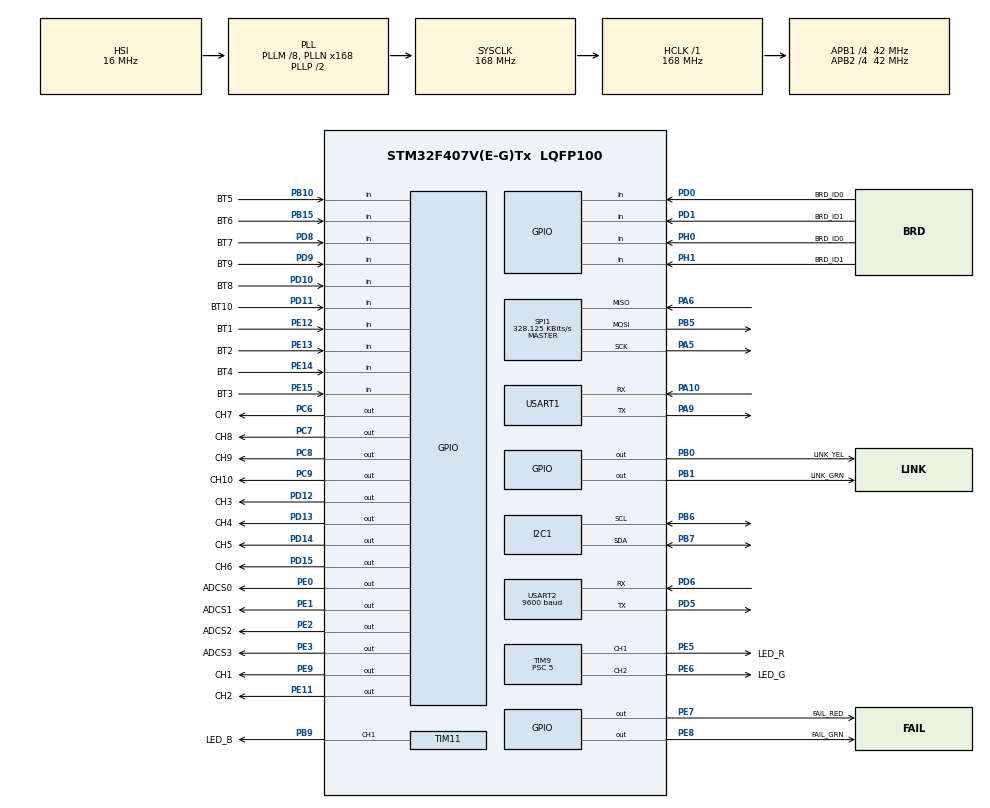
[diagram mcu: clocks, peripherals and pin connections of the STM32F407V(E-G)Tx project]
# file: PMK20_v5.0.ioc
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Dma.I2C1_RX.3.Direction=DMA_PERIPH_TO_MEMORY
Dma.I2C1_RX.3.FIFOMode=DMA_FIFOMODE_DISABLE
Dma.I2C1_RX.3.Instance=DMA1_Stream0
Dma.I2C1_RX.3.MemDataAlignment=DMA_MDATAALIGN_BYTE
Dma.I2C1_RX.3.MemInc=DMA_MINC_ENABLE
Dma.I2C1_RX.3.Mode=DMA_NORMAL
Dma.I2C1_RX.3.PeriphDataAlignment=DMA_PDATAALIGN_BYTE
Dma.I2C1_RX.3.PeriphInc=DMA_PINC_DISABLE
Dma.I2C1_RX.3.Priority=DMA_PRIORITY_HIGH
Dma.I2C1_TX.2.Direction=DMA_MEMORY_TO_PERIPH
Dma.I2C1_TX.2.FIFOMode=DMA_FIFOMODE_DISABLE
Dma.I2C1_TX.2.Instance=DMA1_Stream7
Dma.I2C1_TX.2.MemDataAlignment=DMA_MDATAALIGN_BYTE
Dma.I2C1_TX.2.MemInc=DMA_MINC_ENABLE
Dma.I2C1_TX.2.Mode=DMA_NORMAL
Dma.I2C1_TX.2.PeriphDataAlignment=DMA_PDATAALIGN_BYTE
Dma.I2C1_TX.2.PeriphInc=DMA_PINC_DISABLE
Dma.I2C1_TX.2.Priority=DMA_PRIORITY_HIGH
Dma.Request0=USART2_RX
Dma.Request1=USART2_TX
Dma.Request2=I2C1_TX
Dma.Request3=I2C1_RX
Dma.USART2_RX.0.Direction=DMA_PERIPH_TO_MEMORY
Dma.USART2_RX.0.FIFOMode=DMA_FIFOMODE_DISABLE
Dma.USART2_RX.0.Instance=DMA1_Stream5
Dma.USART2_RX.0.MemDataAlignment=DMA_MDATAALIGN_BYTE
Dma.USART2_RX.0.MemInc=DMA_MINC_ENABLE
Dma.USART2_RX.0.Mode=DMA_NORMAL
Dma.USART2_RX.0.PeriphDataAlignment=DMA_PDATAALIGN_BYTE
Dma.USART2_RX.0.PeriphInc=DMA_PINC_DISABLE
Dma.USART2_RX.0.Priority=DMA_PRIORITY_LOW
Dma.USART2_TX.1.Direction=DMA_MEMORY_TO_PERIPH
Dma.USART2_TX.1.FIFOMode=DMA_FIFOMODE_DISABLE
Dma.USART2_TX.1.Instance=DMA1_Stream6
Dma.USART2_TX.1.MemDataAlignment=DMA_MDATAALIGN_BYTE
Dma.USART2_TX.1.MemInc=DMA_MINC_ENABLE
Dma.USART2_TX.1.Mode=DMA_NORMAL
Dma.USART2_TX.1.PeriphDataAlignment=DMA_PDATAALIGN_BYTE
Dma.USART2_TX.1.PeriphInc=DMA_PINC_DISABLE
Dma.USART2_TX.1.Priority=DMA_PRIORITY_LOW
I2C1.GeneralCallMode=I2C_GENERALCALL_DISABLE
I2C1.NoStretchMode=I2C_NOSTRETCH_DISABLE
I2C1.OwnAddress=0x01
IWDG.Prescaler=IWDG_PRESCALER_128
IWDG.Reload=0xfff
Mcu.Family=STM32F4
Mcu.Name=STM32F407V(E-G)Tx
Mcu.Package=LQFP100
NVIC.DMA1_Stream0_IRQn=true\:0\:0\:false\:false\:true\:false\:true\:true
NVIC.DMA1_Stream5_IRQn=true\:0\:0\:false\:false\:true\:false\:true\:true
NVIC.DMA1_Stream6_IRQn=true\:0\:0\:false\:false\:true\:false\:true\:true
NVIC.DMA1_Stream7_IRQn=true\:0\:0\:false\:false\:true\:false\:true\:true
NVIC.I2C1_ER_IRQn=true\:0\:0\:false\:false\:true\:true\:true\:true
NVIC.I2C1_EV_IRQn=true\:0\:0\:false\:false\:true\:true\:true\:true
NVIC.PriorityGroup=NVIC_PRIORITYGROUP_4
NVIC.TIM1_CC_IRQn=true\:2\:0\:true\:false\:true\:true\:true\:true
NVIC.TIM1_UP_TIM10_IRQn=true\:2\:0\:true\:false\:true\:true\:true\:true
NVIC.TIM6_DAC_IRQn=true\:0\:0\:false\:false\:true\:true\:true\:true
NVIC.TIM7_IRQn=true\:0\:0\:false\:false\:true\:true\:true\:true
NVIC.TIM8_TRG_COM_TIM14_IRQn=true\:2\:0\:true\:false\:true\:true\:true\:true
NVIC.USART2_IRQn=true\:0\:0\:false\:false\:true\:true\:true\:true
PA10.GPIO_PuPd=GPIO_PULLUP
PA10.GPIO_Speed=GPIO_SPEED_FREQ_HIGH
PA10.Mode=Asynchronous
PA10.Signal=USART1_RX
PA13.Mode=Trace_Asynchronous_SW
PA13.Signal=SYS_JTMS-SWDIO
PA14.Mode=Trace_Asynchronous_SW
PA14.Signal=SYS_JTCK-SWCLK
PA5.Mode=Full_Duplex_Master
PA5.Signal=SPI1_SCK
PA6.Mode=Full_Duplex_Master
PA6.Signal=SPI1_MISO
PA9.GPIO_PuPd=GPIO_PULLUP
PA9.GPIO_Speed=GPIO_SPEED_FREQ_HIGH
PA9.Mode=Asynchronous
PA9.Signal=USART1_TX
PB0.GPIO_Label=LINK_YEL
PB0.GPIO_Speed=GPIO_SPEED_FREQ_VERY_HIGH
PB0.Signal=GPIO_Output
PB1.GPIO_Label=LINK_GRN
PB1.GPIO_Speed=GPIO_SPEED_FREQ_VERY_HIGH
PB1.Signal=GPIO_Output
PB10.GPIO_Label=BT5
PB10.Signal=GPIO_Input
PB15.GPIO_Label=BT6
PB15.Signal=GPIO_Input
PB3.Mode=Trace_Asynchronous_SW
PB3.Signal=SYS_JTDO-SWO
PB5.Mode=Full_Duplex_Master
PB5.Signal=SPI1_MOSI
PB6.GPIO_Pu=GPIO_NOPULL
PB6.Mode=I2C
PB6.Signal=I2C1_SCL
PB7.GPIO_Pu=GPIO_NOPULL
PB7.Mode=I2C
PB7.Signal=I2C1_SDA
PB9.GPIO_Label=LED_B
PB9.GPIO_ModeDefaultPP=GPIO_MODE_AF_OD
PB9.GPIO_Speed=GPIO_SPEED_FREQ_MEDIUM
PB9.Signal=S_TIM11_CH1
PC6.GPIO_Label=CH7
PC6.Signal=GPIO_Output
PC7.GPIO_Label=CH8
PC7.Signal=GPIO_Output
PC8.GPIO_Label=CH9
PC8.Signal=GPIO_Output
PC9.GPIO_Label=CH10
PC9.Signal=GPIO_Output
PD0.GPIO_Label=BRD_ID0
PD0.GPIO_PuPd=GPIO_NOPULL
PD0.Signal=GPIO_Input
PD1.GPIO_Label=BRD_ID1
PD1.GPIO_PuPd=GPIO_NOPULL
PD1.Signal=GPIO_Input
PD10.GPIO_Label=BT8
PD10.Signal=GPIO_Input
PD11.GPIO_Label=BT10
PD11.Signal=GPIO_Input
PD12.GPIO_Label=CH3
PD12.Signal=GPIO_Output
PD13.GPIO_Label=CH4
PD13.Signal=GPIO_Output
PD14.GPIO_Label=CH5
PD14.Signal=GPIO_Output
PD15.GPIO_Label=CH6
PD15.Signal=GPIO_Output
PD5.GPIO_PuPd=GPIO_PULLDOWN
PD5.Mode=Asynchronous
PD5.Signal=USART2_TX
PD6.GPIO_PuPd=GPIO_PULLDOWN
PD6.Mode=Asynchronous
PD6.Signal=USART2_RX
PD8.GPIO_Label=BT7
PD8.Signal=GPIO_Input
PD9.GPIO_Label=BT9
PD9.Signal=GPIO_Input
PE0.GPIO_Label=ADCS0
PE0.GPIO_PuPd=GPIO_PULLUP
PE0.Signal=GPIO_Output
PE1.GPIO_Label=ADCS1
PE1.GPIO_PuPd=GPIO_PULLUP
PE1.Signal=GPIO_Output
PE11.GPIO_Label=CH2
PE11.Signal=GPIO_Output
PE12.GPIO_Label=BT1
PE12.GPIO_PuPd=GPIO_PULLDOWN
PE12.Signal=GPIO_Input
PE13.GPIO_Label=BT2
PE13.GPIO_PuPd=GPIO_PULLDOWN
PE13.Signal=GPIO_Input
PE14.GPIO_Label=BT4
PE14.GPIO_PuPd=GPIO_PULLDOWN
PE14.Signal=GPIO_Input
PE15.GPIO_Label=BT3
PE15.GPIO_PuPd=GPIO_PULLDOWN
PE15.Signal=GPIO_Input
PE2.GPIO_Label=ADCS2
PE2.GPIO_PuPd=GPIO_PULLUP
PE2.Signal=GPIO_Output
PE3.GPIO_Label=ADCS3
PE3.GPIO_PuPd=GPIO_PULLUP
PE3.Signal=GPIO_Output
PE5.GPIO_Label=LED_R
PE5.GPIO_ModeDefaultPP=GPIO_MODE_AF_OD
PE5.GPIO_Speed=GPIO_SPEED_FREQ_MEDIUM
PE5.Signal=S_TIM9_CH1
PE6.GPIO_Label=LED_G
PE6.GPIO_ModeDefaultPP=GPIO_MODE_AF_OD
PE6.GPIO_Speed=GPIO_SPEED_FREQ_MEDIUM
PE6.Signal=S_TIM9_CH2
PE7.GPIO_Label=FAIL_RED
PE7.GPIO_PuPd=GPIO_PULLDOWN
PE7.GPIO_Speed=GPIO_SPEED_FREQ_LOW
PE7.Signal=GPIO_Output
PE8.GPIO_Label=FAIL_GRN
PE8.GPIO_PuPd=GPIO_PULLDOWN
PE8.GPIO_Speed=GPIO_SPEED_FREQ_LOW
PE8.Signal=GPIO_Output
PE9.GPIO_Label=CH1
PE9.Signal=GPIO_Output
PH0-OSC_IN.GPIO_Label=BRD_ID0
PH0-OSC_IN.Signal=GPIO_Input
PH1-OSC_OUT.GPIO_Label=BRD_ID1
PH1-OSC_OUT.Signal=GPIO_Input
ProjectManager.HeapSize=0x200
ProjectManager.StackSize=0x400
ProjectManager.TargetToolchain=MDK-ARM V5.32
RCC.48MHZClocksFreq_Value=84000000
RCC.AHBFreq_Value=168000000
RCC.APB1CLKDivider=RCC_HCLK_DIV4
RCC.APB1Freq_Value=42000000
RCC.APB1TimFreq_Value=84000000
RCC.APB2CLKDivider=RCC_HCLK_DIV4
RCC.APB2Freq_Value=42000000
RCC.APB2TimFreq_Value=84000000
RCC.CortexFreq_Value=168000000
RCC.HCLKFreq_Value=168000000
RCC.HSE_VALUE=25000000
RCC.HSI_VALUE=16000000
RCC.LSE_VALUE=32768
RCC.PLLM=8
RCC.PLLN=168
RCC.SYSCLKFreq_VALUE=168000000
RCC.SYSCLKSource=RCC_SYSCLKSOURCE_PLLCLK
RCC.VCOOutputFreq_Value=336000000
SH.S_TIM11_CH1.0=TIM11_CH1,PWM Generation1 CH1
SH.S_TIM9_CH1.0=TIM9_CH1,PWM Generation1 CH1
SH.S_TIM9_CH2.0=TIM9_CH2,PWM Generation2 CH2
SPI1.BaudRatePrescaler=SPI_BAUDRATEPRESCALER_128
SPI1.CalculateBaudRate=328.125 KBits/s
SPI1.Direction=SPI_DIRECTION_2LINES
SPI1.Mode=SPI_MODE_MASTER
SPI1.VirtualType=VM_MASTER
TIM1.Channel-Output\ Compare1\ No\ Output=TIM_CHANNEL_1
TIM1.Period=12799
TIM1.Prescaler=5
TIM10.Period=2625
TIM10.Prescaler=15
TIM11.Channel=TIM_CHANNEL_1
TIM11.OCPolarity_1=TIM_OCPOLARITY_LOW
TIM11.Period=255
TIM11.Prescaler=5
TIM14.Period=52500
TIM14.Prescaler=150
TIM6.Period=5250
TIM6.Prescaler=15
TIM7.Period=80
TIM7.Prescaler=1600
TIM9.Channel-PWM\ Generation1\ CH1=TIM_CHANNEL_1
TIM9.Channel-PWM\ Generation2\ CH2=TIM_CHANNEL_2
TIM9.OCPolarity_1=TIM_OCPOLARITY_LOW
TIM9.OCPolarity_2=TIM_OCPOLARITY_LOW
TIM9.Period=255
TIM9.Prescaler=5
USART1.VirtualMode=VM_ASYNC
USART2.BaudRate=9600
USART2.VirtualMode=VM_ASYNC
VP_CRC_VS_CRC.Mode=CRC_Activate
VP_IWDG_VS_IWDG.Mode=IWDG_Activate
VP_TIM10_VS_ClockSourceINT.Mode=Enable_Timer
VP_TIM11_VS_ClockSourceINT.Mode=Enable_Timer
VP_TIM14_VS_ClockSourceINT.Mode=Enable_Timer
VP_TIM1_VS_no_output1.Mode=Output Compare1 No Output
VP_TIM6_VS_ClockSourceINT.Mode=Enable_Timer
VP_TIM7_VS_ClockSourceINT.Mode=Enable_Timer
board=custom

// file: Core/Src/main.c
/* USER CODE BEGIN Header */
/**
  ******************************************************************************
  * @file           : main.c
  * @brief          : Main program body
  ******************************************************************************
  * @attention
  *
  * Copyright (c) 2023 STMicroelectronics.
  * All rights reserved.
  *
  * This software is licensed under terms that can be found in the LICENSE file
  * in the root directory of this software component.
  * If no LICENSE file comes with this software, it is provided AS-IS.
  *
  ******************************************************************************
  */
/* USER CODE END Header */
#include "main.h"

/* USER CODE BEGIN Includes */
#include "MY_FLASH.h"
#include "MD_5.h"
#include "string.h"
/* USER CODE END Includes */

/* USER CODE BEGIN PTD */
 uint16_t current = 0; // счетчик
 uint8_t rer[100];
 uint8_t arr[168];
 uint8_t mbInput[16]; // Массив входных данных modbus
 uint8_t lenMBrx;
 uint8_t mbAddr;
 uint8_t i2cAddr;
 uint16_t crcTx;
 _Bool arrBool[0x400];
	_Bool arrBoolTemp[100];
	uint16_t arrWord[0x400];
	uint16_t arrWord_minus[0x400];
	uint16_t arrWordBipol[0x400];
	_Bool arrBoolBipol[0x400];
 _Bool uartTx;
  _Bool sem; // сигнал о том что посылка modbud принята без ошибок.
  _Bool blockMode; // блокировка записи по modbus в режиме местного упрвления
  _Bool semF; //  посылка по модбасу принята
	uint8_t timePush_Test;
	uint8_t timePush_Test_N;
	_Bool set_set[10]; // запись уставок по первому сигналу
	uint16_t setPoint[100];
	//MODE
//	uint8_t mode;// test
uint8_t PMU_Mode;
int16_t blink; // для выбора режима упрвления мигание
 _chlMode cTime[10]; // переменная для определения времени нажатия кнопок каждого канала
  uint8_t chMode[10]; // режим мониторинга кабеля
	uint8_t chModeTemp[10];// заглушка
	// CPU ID
	long itr00;
	volatile uint32_t *UniqueID = (uint32_t *)0x1FFF7A10;
	volatile uint32_t __UniqueID[3];
	volatile extern uint8_t test_Status;
	uint16_t errorCounter;
	_Bool ttr = 0; // Блокировка при записи в Флеш память
		HAL_StatusTypeDef RTF; // test i2c
		HAL_StatusTypeDef WTF; // test i2c
		_Bool slaveWrData;
		_Bool slaveRdData;
		 int iik;
		uint8_t arrI2c_R[12];

		_Bool i2c_rd = 0;
		_Bool i2c_td = 0;
		uint32_t lanTimer = 0;
		uint8_t hvAllarm = 0;

		uint8_t lanCurr;// чтетчик для индикации работы сети
		_Bool lanLed; // индикатор работы сети ?
		uint16_t lanTemer;
		uint32_t rlanTest;
		_Bool blanTest;

		_Bool stMbAdd[2];

		uint8_t EON_off =1; // когда напряжение смещени 100 В должно быть снято
		_Bool pauseEon;
		_Bool pauseEonM;
		int i_Eon = 0;
		uint8_t modeEon =0;
		uint16_t delayEon = 900;
		uint8_t readyEon;
//		uint8_t modeEon;
		uint8_t timeModeEon = 0;
		_Bool startLokal = 0;
		uint8_t statusMb;
//	uint16_t currentTime; // переменная для выдержки 30 сек не нажата ни одна кнопка
GPIO switch_gpio[10] = {
	{ BT1_GPIO_Port, BT1_Pin },
	{ BT2_GPIO_Port, BT2_Pin },
	{ BT3_GPIO_Port, BT3_Pin },
	{ BT4_GPIO_Port, BT4_Pin },
	{ BT5_GPIO_Port, BT5_Pin },
	{ BT6_GPIO_Port, BT6_Pin },
	{ BT7_GPIO_Port, BT7_Pin },
	{ BT8_GPIO_Port, BT8_Pin },
	{ BT9_GPIO_Port, BT9_Pin },
	{ BT10_GPIO_Port, BT10_Pin }
};

	//plus
uint8_t adc_current =0;
	uint32_t adc_delay = 150;//120;//500; //
	uint32_t  led_rgb[10] = {0, 0, 0, 0, 0, 0, 0, 0, 0, 0};
	float RZ[4];
	int CC; // TEST
	int currentPB =0; //  селекция нажатия кнопки push_Button
	// Flash
		uint8_t data[64];    // test
    uint16_t res[400];		// test
	// monitor CH
	uint8_t ch_monitor[10] = {0, 0, 0, 0, 0, 0, 0, 0, 0, 0};
	int ideley=0;
	int kdeley=0;
	uint8_t tempCh[10];
	_Bool startSett; //  считывание при старте
	//For Skada

	char mBuffer[65535];

	// Ошибка платы
	_Bool pmkError;
	uint16_t adc_Status; // Состояние АЦП

	//gpio
	// md5
	uint32_t CCRC;
	char md5sum;
	char ccrrc;

	uint8_t arrI2c_T[12];

	uint32_t SetEEprom;
	_Bool LoadNumDev;

/* USER CODE END PTD */

CRC_HandleTypeDef hcrc;

I2C_HandleTypeDef hi2c1;
DMA_HandleTypeDef hdma_i2c1_tx;
DMA_HandleTypeDef hdma_i2c1_rx;

IWDG_HandleTypeDef hiwdg;

SPI_HandleTypeDef hspi1;

TIM_HandleTypeDef htim1;
TIM_HandleTypeDef htim6;
TIM_HandleTypeDef htim7;
TIM_HandleTypeDef htim9;
TIM_HandleTypeDef htim10;
TIM_HandleTypeDef htim11;
TIM_HandleTypeDef htim14;

UART_HandleTypeDef huart1;
UART_HandleTypeDef huart2;
DMA_HandleTypeDef hdma_usart2_rx;
DMA_HandleTypeDef hdma_usart2_tx;

void SystemClock_Config(void);
static void MX_GPIO_Init(void);
static void MX_DMA_Init(void);
static void MX_USART2_UART_Init(void);
static void MX_TIM7_Init(void);
static void MX_SPI1_Init(void);
static void MX_TIM9_Init(void);
static void MX_TIM11_Init(void);
static void MX_USART1_UART_Init(void);
static void MX_TIM6_Init(void);
static void MX_TIM1_Init(void);
static void MX_TIM10_Init(void);
static void MX_TIM14_Init(void);
static void MX_CRC_Init(void);
static void MX_I2C1_Init(void);
static void MX_IWDG_Init(void);
/* USER CODE BEGIN PFP */

void HAL_I2C_SlaveTxCpltCallback(I2C_HandleTypeDef *hi2c)
{

		slaveWrData = 0;
							RTF = HAL_I2C_Slave_Receive_DMA(&hi2c1, arrI2c_R,12);
							for (int i=0; i<100; i++){}
							arrWord[110] = arrI2c_R[1]<<8	| arrI2c_R[2];
							arrWord[111] = arrI2c_R[3]<<8	| arrI2c_R[4];

							if(arrI2c_R[5] == 0xF0){arrWord[114]=0x01FF;}
							else if (arrI2c_R[5] == 0x0F){arrWord[114]=0x05;}
//							arrWord[114] = arrI2c_R[5]; //<<8	| arrI2c_R[6];
}
void HAL_I2C_SlaveRxCpltCallback(I2C_HandleTypeDef *hi2c)
{

		slaveRdData = 0;

}

void HAL_UART_RxCpltCallback(UART_HandleTypeDef *huart)
{

    if ((huart == &huart2)&(!semF))
    {

		// обработка модбас
     HAL_UART_Receive_DMA(&huart2,(uint8_t*) &rer,1);
    }
  /* Prevent unused argument(s) compilation warning */
  UNUSED(huart);
  /* NOTE: This function should not be modified, when the callback is needed,
           the HAL_UART_RxCpltCallback could be implemented in the user file
   */
};
void HAL_UART_ErrorCallback(UART_HandleTypeDef *huart)
{
//	if(huart->ErrorCode == HAL_UART_ERROR_ORE)
//	{
//		if (huart->ErrorCode == HAL_UART_ERROR_NONE)
//		{
//			arrWord[200]=0;
//		}
//		else if (huart->ErrorCode == HAL_UART_ERROR_PE)
//		{
//			arrWord[200]=1;
//		}
//		else if (huart->ErrorCode == HAL_UART_ERROR_NE)
//		{
//			arrWord[200]=2;
//		}
//		else if (huart->ErrorCode == HAL_UART_ERROR_FE)
//		{
//			arrWord[200]=3;
//		}
//		else if (huart->ErrorCode == HAL_UART_ERROR_ORE)
//		{
//			arrWord[200]=4;
//		}
//		else if (huart->ErrorCode == HAL_UART_ERROR_DMA)
//		{
//			arrWord[200]=5;
//		}

		HAL_UART_Receive_DMA(&huart2,(uint8_t*) &rer,1); // Перезапуск при ошибке
}
/* USER CODE END PFP */

int main(void)

{
  /* USER CODE BEGIN 1 */
//	//ID CPU
//	__UniqueID[0] = UniqueID[0];
//	__UniqueID[1] = UniqueID[1];
//	__UniqueID[2] = UniqueID[2];

//	arrWord[100] = __UniqueID[0];
//	arrWord[101] = __UniqueID[0]>>16;
//	arrWord[102] = __UniqueID[1];
//	arrWord[103] = __UniqueID[1]>>16;
//	arrWord[104] = __UniqueID[2];
//	arrWord[105] = __UniqueID[2]>>16;
//
//	// Версия программы
//	arrWord[90] = _version>>16;
//	arrWord[91] = (uint16_t)_version;
////	arrWord[92] = 20;
////	arrWord[93] = 01;
//// md5
//
//		uint8_t result[16] = {0,0,0,0,0,0,0,0,0,0,0,0,0,0,0,0};
//

		uint8_t tbyte;
		uint64_t flas_length = 0;
		_Bool flas_count = 0;
		uint8_t ff_count =0;

//		while (!flas_count)
//		{
//			tbyte =	*(uint8_t*)(0x8000000+flas_length);
//			if (tbyte == 0xFF)
//			{
//
//				if(ff_count >= 15)
//				{
//				flas_count = 1;
//				}
//				ff_count++;
//			}
//			else
//			{
//				ff_count = 0;
//			}
//
//			flas_length++;
//		}
//		flas_length = flas_length - 16; // адрес первого FF

//		tbyte =	*(uint8_t*)0x8000000; // прочитать байты;
	char buffer2[9];
	char md5Vstart;		//[flas_length>>1];
	uint32_t md5Vfinish;    //[flas_length>>1];

//    mbAddr=0x01;
    startSett = 0;
	  MY_FLASH_SetSectorAddrs(11, 0x080E0000);
//    uint8_t data[2048-8];
//    data[0]=0xA5;//serial_number[0];//0x10;
//    data[1]=0xA6;//serial_number[1];//0x34;

/****** Работа с FLASH *****/
	//предустановки

	//Проверяем flash

	 MY_FLASH_ReadN(0,res,400,DATA_TYPE_16);

	if (res[0] != 0xffff)
	{
		MY_FLASH_ReadN (0, arrWord, 400, DATA_TYPE_16);
	}
//    MY_FLASH_WriteN(0,arrWord,40,DATA_TYPE_16); // Запись
//    MY_FLASH_ReadN(0,res,8,DATA_TYPE_8);
	arrBool[20]=1; arrBool[21]=1; arrBool[22]=1;arrBool[23]=1;arrBool[24]=1; arrBool[25]=1; arrBool[26]=1; arrBool[27]=1; arrBool[28]=1; arrBool[29]=1;
  arrBool[30]=1; arrBool[31]=1; arrBool[32]=1;arrBool[33]=1;arrBool[34]=1; arrBool[35]=1; arrBool[36]=1; arrBool[37]=1; arrBool[38]=1; arrBool[39]=1;
	arrBool[40]=1; arrBool[41]=1; arrBool[42]=1;arrBool[43]=1;arrBool[44]=1; arrBool[45]=1; arrBool[46]=1; arrBool[47]=1; arrBool[48]=1; arrBool[49]=1;
	arrBool[50]=1; arrBool[51]=1; arrBool[52]=1;arrBool[53]=1;arrBool[54]=1; arrBool[55]=1; arrBool[56]=1; arrBool[57]=1; arrBool[58]=1; arrBool[59]=1;
	arrBool[110]=1; arrBool[111]=1; arrBool[112]=1;arrBool[113]=1;arrBool[114]=1; arrBool[115]=1; arrBool[116]=1; arrBool[117]=1; arrBool[118]=1; arrBool[119]=1;
	for(int i = 0; i<10 ; i++)
	{
			if ((arrWord[i+200]==0) | (arrWord[i+200] == 0xFFFF))
			{arrWord[i+200]=_setVolt;}
			if(arrWord[i] == 0)
			{
				arrWord[i]=0x1414;
			}
	}
	arrWord[140]=0;
	arrWord[380]=10;
	arrWord[221] = 0xFC00; // Напряжение -100 В
	arrWord[222] = 0xFC00; // напряжение +100 В
	//ID CPU
	__UniqueID[0] = UniqueID[0];
	__UniqueID[1] = UniqueID[1];
	__UniqueID[2] = UniqueID[2];

	arrWord[100] = __UniqueID[0];
	arrWord[101] = __UniqueID[0]>>16;
	arrWord[102] = __UniqueID[1];
	arrWord[103] = __UniqueID[1]>>16;
	arrWord[104] = __UniqueID[2];
	arrWord[105] = __UniqueID[2]>>16;

	// Версия программы
	arrWord[90] = _version>>16;
	arrWord[91] = (uint16_t)_version;
//	arrWord[92] = 20;
//	arrWord[93] = 01;
// md5

		uint8_t result[16] = {0,0,0,0,0,0,0,0,0,0,0,0,0,0,0,0};

  /* USER CODE END 1 */

  /* MCU Configuration--------------------------------------------------------*/

  /* Reset of all peripherals, Initializes the Flash interface and the Systick. */
  HAL_Init();

  /* Configure the system clock */
  SystemClock_Config();

  /* Initialize all configured peripherals */
  MX_GPIO_Init();
  MX_DMA_Init();
  MX_USART2_UART_Init();
  MX_TIM7_Init();
  MX_SPI1_Init();
  MX_TIM9_Init();
  MX_TIM11_Init();
  MX_USART1_UART_Init();
  MX_TIM6_Init();
  MX_TIM1_Init();
  MX_TIM10_Init();
  MX_TIM14_Init();
  MX_CRC_Init();
  MX_I2C1_Init();
  MX_IWDG_Init();
  /* USER CODE BEGIN 2 */
    HAL_UART_Receive_DMA(&huart2,(uint8_t*) &rer,1);

//		HAL_I2C_Slave_Transmit_DMA(&hi2c1,arrI2c, 2);
    HAL_TIM_Base_Start_IT(&htim7);
		HAL_TIM_Base_Start_IT(&htim14);
//		CCRC = pro_CRC();
			stMbAdd[0]=HAL_GPIO_ReadPin(GPIOD, GPIO_PIN_0)!=0;
			stMbAdd[1]=HAL_GPIO_ReadPin(GPIOD, GPIO_PIN_1)!=0;
			i2cAddr = stMbAdd[0]+stMbAdd[1]+1; //230807
//			hi2c1.Init.OwnAddress1 = i2cAddr;

		CCRC = HAL_CRC_Calculate(&hcrc, (uint32_t *)0x8000000, 0xE208); //0x40000);
//		md5sum = (uint32_t)CCRC;
		sprintf(buffer2, "%X",CCRC);
		md5String(buffer2,result);
//for (int i =0; i<16; i++)
//{
//	arrWord[120+i]=result[i];
//}
		arChar_to_arrWord(result, arrWord);

		uint8_t switch_state[10] = { 0, 0, 0, 0, 0, 0, 0, 0, 0, 0 };
		ADC_CS(-1); // Выбор АЦП отключен

	hi2c1.Init.OwnAddress1 = i2cAddr;

	HAL_TIM_PWM_Start_IT(&htim9, TIM_CHANNEL_1);
	HAL_TIM_PWM_Start_IT(&htim9, TIM_CHANNEL_2);
	HAL_TIM_PWM_Start_IT(&htim11, TIM_CHANNEL_1);
	HAL_TIM_Base_Start_IT(&htim1);

	for(int k=0; k<10; k++)
		{
		int b = HAL_GPIO_ReadPin(switch_gpio[k].port, switch_gpio[k].pin) == 0;
		switch_state[k] = b;
		}

	LED_Link(1);
	LED_Fail(1);
	for(int k=0; k<10; k++)
		{
			led_rgb[k] = 0x00001f00;
			HAL_Delay(200);//00);
		}

	LED_Link(2);
	LED_Fail(2);
	for(int k=0; k<10; k++)
		{
			led_rgb[k] = 0x001f0000;
			HAL_Delay(200);//00);
		}

	LED_Link(0);
	LED_Fail(0);
	for(int k=0; k<10; k++)
		{
		led_rgb[k] = 0x0000001f;
		HAL_Delay(200);//00);
		}

	LED_Fail(1);
	for(int k=0; k<10; k++)
		{
			led_rgb[k] = 0x00000000;
			HAL_Delay(100);//00);
		}

		pmkError=0; // Сброс ошибки при перезагрузке

		arrWord[220] = ADC_Error(0x4F);

		pmkError = 0; // arrWord[220]!= 0;//230721

		if (pmkError)
		{arrWord[140]=arrWord[140]|0x1;}
		else
		{arrWord[140]=arrWord[140]&0xFE;}

		 HAL_IWDG_Refresh(&hiwdg);

//		ADC_CS(0);
//		adc_Status = ADC_Status();

			HAL_TIM_Base_Start_IT(&htim10);

		i2c_rd = 1;
//			HAL_TIM_Base_Start_IT(&htim14);
		//Проверка состояния 10 АЦП по ID Общая

//		ADC_CS(0);
//		timePush_Test_N = ADC_readID();

  /* USER CODE END 2 */

  /* Infinite loop */
  /* USER CODE BEGIN WHILE */
  while (1)
	{
//		HAL_IWDG_Refresh(&hiwdg);
//		arrWord[145] = modeEon;

		for(adc_current=0; adc_current<11; adc_current++)
		{

			HAL_IWDG_Refresh(&hiwdg);

			if (adc_current < 10)
			{
//				ADC_measureVolt(adc_current,arrWord,arrBool);
//				arrI2c_T[0]=adc_current; //test
//
//				HAL_I2C_Slave_Transmit(&hi2c1,arrI2c, 1, 1000);

				if (PMU_Mode==2)//230722
				{
					preset_V(); // Предустановка с запиью параметров в Флеш
				}

				ADC_CS(adc_current);
				ADC_reset();
//				ADC_measureVolt(adc_current,arrWord,arrBool);
				if (startSett) // запуск прошел
				{
					if(arrWord[adc_current+40]==0)
						{
							arrBool[adc_current+20]=1;
							arrBool[adc_current+30]=1;
							arrBool[adc_current+40]=1;
							arrBool[adc_current+50]=1;

//							ADC_measure(adc_current, arrWord, arrBoolTemp, startSett);
//							set_set[adc_current] = 1;
						}
						else if ((arrWord[adc_current+40]==2)|(arrWord[adc_current+40]==6) )
						{

							{
								switch (modeEon)
              {
              	case 0:
              		break;
              	case 1:
										ADC_measureVolt(adc_current,arrWord,arrBool);
              		break;
								case 2:
									break;
								case 3:
									break;
								case 4:
										ADC_measure_minus(adc_current, arrWordBipol,arrBoolTemp);
									break;
								case 5:
										for(int i = 0; i<10;i++)
										{
											arrWord[170+i] = arrWordBipol[170+i]; // сопротивление изоляции 1 при - смещении
											arrWord[180+i] = arrWordBipol[180+i]; // сопротивление изоляции 2 при - смещении
										}
									break;
								case 6:
								break;
								case 7:
								break;
								case 8:
									ADC_measure_plus(adc_current,arrWordBipol, arrBoolBipol);
									break;
								case 9:
									for(int i = 0; i<10;i++)
									{
										arrWord[70+i] = arrWordBipol[70+i]; // сопротивление шлейфа
										arrBool[40+i] = arrBoolBipol[40+i]; // авария сопротивления шлейфа

										arrWord[50+i] = arrWordBipol[50+i]; // сопротивление изоляции 1
										arrBool[20+i] = arrBoolBipol[20+i]; // авария изоляции 1

										arrWord[60+i] = arrWordBipol[60+i]; // сопротивление изоляции 2
										arrBool[30+i] = arrBoolBipol[30+i]; // авария изоляции 2

										arrWord[150+i] = arrWordBipol[150+i];
										arrWord[160+i] = arrWordBipol[160+i];

//										arrBool[50+i] = arrBoolBipol[50+i];// обрыв кабеля
									}
									break;
								case 10:
									break;
              	default:
              		break;
              }

							}
						}
						else if ((arrWord[adc_current+40]==1)|(arrWord[adc_current+40]==3)|(arrWord[adc_current+40]==4)|(arrWord[adc_current+40]==5) )
						{
							arrBool[adc_current+20]=1;
							arrBool[adc_current+30]=1;
							arrBool[adc_current+40]=1;
							arrBool[adc_current+50]=1;

							//							ADC_measure(adc_current, arrWord, arrBoolTemp, startSett); // монитринг только включеных калалов
						}
				}
				else  // идет процесс старта
				{
					if (modeEon==1){startLokal=1;}

					if (startLokal ==1)
					{
					switch (modeEon)
              {
              	case 0:
              		break;
              	case 1:
										ADC_measureVolt(adc_current,arrWord,arrBool);
              		break;
								case 2:
									break;
								case 3:
									break;
								case 4:

										ADC_measure_minus(adc_current, arrWord,arrBoolTemp);
									break;
								case 5:
										for(int i = 0; i<10;i++)
										{
											arrWordBipol[170+i] = arrWord[170+i]; // сопротивление изоляции 1 при - смещении
											arrWordBipol[180+i] = arrWord[180+i]; // сопротивление изоляции 2 при - смещении
										}
									break;
								case 6:
								break;
								case 7:
								break;
								case 8:
									ADC_measure_plus(adc_current, arrWordBipol, arrBoolBipol);
									break;
								case 9:
									for(int i = 0; i<10;i++)
									{
										arrWord[70+i] = arrWordBipol[70+i]; // сопротивление шлейфа
										arrBool[40+i] = arrBoolBipol[40+i]; // авария сопротивления шлейфа

										arrWord[50+i] = arrWordBipol[50+i]; // сопротивление изоляции 1
										arrBool[20+i] = arrBoolBipol[20+i]; // авария изоляции 1

										arrWord[60+i] = arrWordBipol[60+i]; // сопротивление изоляции 2
										arrBool[30+i] = arrBoolBipol[30+i]; // авария изоляции 2

										arrWord[150+i] = arrWordBipol[150+i]; // сопротивление изоляции 1 при + смещении
										arrWord[160+i] = arrWordBipol[160+i];	// сопротивление изоляции 2 при + смещениии

									}
//									timeModeEon = 1;
									break;
								case 10:
									timeModeEon = 1;
									break;

              	default:
              		break;
              }
						}

//					if(modeEon==2)
//					{startLokal = 1;}
//
//					else if ((modeEon == 3)) //& (startLokal ==1))
//					{
//						timeModeEon = 1;
//						startLokal = 0;
////						ADC_measure(adc_current, arrWord, arrBoolTemp, startSett);
//						ADC_measure_minus(adc_current, arrWord, arrBoolTemp);
//					}
//					else if (modeEon == 1)
//					{
//					 // РЕЖИМ измерения напряжения и сравнения с порогом
//						ADC_measureVolt(adc_current,arrWord,arrBool);
//					}
				}
				ADC_CS(-1);
			}
			if  ((timeModeEon ==1) & (startSett==0) & (modeEon == 0))    //((adc_current ==0) & (startSett==0) & (modeEon == 3))
			{
				startSett = 1;
				timeModeEon = 0;
			}

			}
		}
//  {
//
//
//		for(adc_current=0; adc_current<11; adc_current++)
//		{
//
//			HAL_IWDG_Refresh(&hiwdg);
//
//			if (adc_current < 10)
//			{
//
//						if (PMU_Mode==2)//230722
//						{
//							preset_V(); // Предустановка с запиью параметров в Флеш
//						}
//
//				ADC_CS(adc_current); // последовательное включение АЦП
//				ADC_reset();
//
//				if (startSett) // запуск прошел
//				{
//					if (modeEon == 3)
//								{
//										EON_off = 1;
//										if(readyEon ==0)
//										{
//												current++;
//												HAL_Delay(100);
//												if(current > delayEon)
//												{
//													modeEon =4;
//													current = 0;
//												}
//										}
//										else
//										{
//											HAL_Delay(100);
//										}
//
//								}
//						else if (modeEon==4)
//								{
//										EON_off = 0;
//									if (readyEon == 1)
//										{
//												current++;
//												HAL_Delay(100);
//
//												if(current > delayEon)
//													{
//														modeEon =5;
//														current = 0;
//													}
//										}
//										else
//										{
//										HAL_Delay(100);
//										}
//
//								}
//						else if (modeEon == 5)
//								{
//									EON_off = 0;
//											if (i_Eon >= 10)
//														{
//															modeEon =3;
//															i_Eon = 0;
//														}
//											ADC_measure(adc_current, arrWord, arrBool, startSett);

//											if (arrWord[adc_current+40]!=2)
//														{
//															arrBool[adc_current+20]=1;
//															arrBool[adc_current+30]=1;
//															arrBool[adc_current+40]=1;
//															arrBool[adc_current+50]=1;
//														}
//									i_Eon++;
//								}
//
//				}
//				else
//				{
//					if (modeEon ==0)
//					{
//						EON_off = 0;
//
//						if(readyEon ==1)
//						{
//
//								current++;
//								HAL_Delay(100);
//
//								if(current > delayEon)
//								{
//									modeEon =1;
//									current = 0;
//								}
//							}
//						else
//						{
//							HAL_Delay(100);
//						}
//
//
//					}
//					else if (modeEon == 1)
//					{
//								ADC_measure(adc_current, arrWord, arrBoolTemp, startSett);
//								i_Eon++;
//								if (i_Eon >= 10)
//								{
//									modeEon =2;
//									i_Eon = 0;
//								}
//					}
//				}
//				ADC_CS(-1);
//			}
//			if ((modeEon == 2) & (startSett == 0)) //(adc_current ==10)& (startSett==0))//& EON_off == 0)
//			{
//				startSett = 1;
//				i_Eon = 0;
//				modeEon=3;
//				current =0;
//			}
//
//
//			}
//		}
	    /* USER CODE END WHILE */

}

void SystemClock_Config(void)
{
  RCC_OscInitTypeDef RCC_OscInitStruct = {0};
  RCC_ClkInitTypeDef RCC_ClkInitStruct = {0};

  /** Configure the main internal regulator output voltage
  */
  __HAL_RCC_PWR_CLK_ENABLE();
  __HAL_PWR_VOLTAGESCALING_CONFIG(PWR_REGULATOR_VOLTAGE_SCALE1);

  /** Initializes the RCC Oscillators according to the specified parameters
  * in the RCC_OscInitTypeDef structure.
  */
  RCC_OscInitStruct.OscillatorType = RCC_OSCILLATORTYPE_HSI|RCC_OSCILLATORTYPE_LSI;
  RCC_OscInitStruct.HSIState = RCC_HSI_ON;
  RCC_OscInitStruct.HSICalibrationValue = RCC_HSICALIBRATION_DEFAULT;
  RCC_OscInitStruct.LSIState = RCC_LSI_ON;
  RCC_OscInitStruct.PLL.PLLState = RCC_PLL_ON;
  RCC_OscInitStruct.PLL.PLLSource = RCC_PLLSOURCE_HSI;
  RCC_OscInitStruct.PLL.PLLM = 8;
  RCC_OscInitStruct.PLL.PLLN = 168;
  RCC_OscInitStruct.PLL.PLLP = RCC_PLLP_DIV2;
  RCC_OscInitStruct.PLL.PLLQ = 4;
  if (HAL_RCC_OscConfig(&RCC_OscInitStruct) != HAL_OK)
  {
    Error_Handler();
  }

  /** Initializes the CPU, AHB and APB buses clocks
  */
  RCC_ClkInitStruct.ClockType = RCC_CLOCKTYPE_HCLK|RCC_CLOCKTYPE_SYSCLK
                              |RCC_CLOCKTYPE_PCLK1|RCC_CLOCKTYPE_PCLK2;
  RCC_ClkInitStruct.SYSCLKSource = RCC_SYSCLKSOURCE_PLLCLK;
  RCC_ClkInitStruct.AHBCLKDivider = RCC_SYSCLK_DIV1;
  RCC_ClkInitStruct.APB1CLKDivider = RCC_HCLK_DIV4;
  RCC_ClkInitStruct.APB2CLKDivider = RCC_HCLK_DIV4;

  if (HAL_RCC_ClockConfig(&RCC_ClkInitStruct, FLASH_LATENCY_5) != HAL_OK)
  {
    Error_Handler();
  }
}

static void MX_CRC_Init(void)
{

  hcrc.Instance = CRC;
  if (HAL_CRC_Init(&hcrc) != HAL_OK)
  {
    Error_Handler();
  }

}

static void MX_I2C1_Init(void)
{

  hi2c1.Instance = I2C1;
  hi2c1.Init.ClockSpeed = 100000;
  hi2c1.Init.DutyCycle = I2C_DUTYCYCLE_2;
  hi2c1.Init.OwnAddress1 = 2;
  hi2c1.Init.AddressingMode = I2C_ADDRESSINGMODE_7BIT;
  hi2c1.Init.DualAddressMode = I2C_DUALADDRESS_DISABLE;
  hi2c1.Init.OwnAddress2 = 0;
  hi2c1.Init.GeneralCallMode = I2C_GENERALCALL_DISABLE;
  hi2c1.Init.NoStretchMode = I2C_NOSTRETCH_DISABLE;
  if (HAL_I2C_Init(&hi2c1) != HAL_OK)
  {
    Error_Handler();
  }

}

static void MX_IWDG_Init(void)
{

  hiwdg.Instance = IWDG;
  hiwdg.Init.Prescaler = IWDG_PRESCALER_128;
  hiwdg.Init.Reload = 0xfff;
  if (HAL_IWDG_Init(&hiwdg) != HAL_OK)
  {
    Error_Handler();
  }

}

static void MX_SPI1_Init(void)
{

  /* SPI1 parameter configuration*/
  hspi1.Instance = SPI1;
  hspi1.Init.Mode = SPI_MODE_MASTER;
  hspi1.Init.Direction = SPI_DIRECTION_2LINES;
  hspi1.Init.DataSize = SPI_DATASIZE_8BIT;
  hspi1.Init.CLKPolarity = SPI_POLARITY_LOW;
  hspi1.Init.CLKPhase = SPI_PHASE_1EDGE;
  hspi1.Init.NSS = SPI_NSS_SOFT;
  hspi1.Init.BaudRatePrescaler = SPI_BAUDRATEPRESCALER_128;
  hspi1.Init.FirstBit = SPI_FIRSTBIT_MSB;
  hspi1.Init.TIMode = SPI_TIMODE_DISABLE;
  hspi1.Init.CRCCalculation = SPI_CRCCALCULATION_DISABLE;
  hspi1.Init.CRCPolynomial = 10;
  if (HAL_SPI_Init(&hspi1) != HAL_OK)
  {
    Error_Handler();
  }

}

static void MX_TIM1_Init(void)
{

  TIM_MasterConfigTypeDef sMasterConfig = {0};
  TIM_OC_InitTypeDef sConfigOC = {0};
  TIM_BreakDeadTimeConfigTypeDef sBreakDeadTimeConfig = {0};

  htim1.Instance = TIM1;
  htim1.Init.Prescaler = 5;
  htim1.Init.CounterMode = TIM_COUNTERMODE_UP;
  htim1.Init.Period = 12799;
  htim1.Init.ClockDivision = TIM_CLOCKDIVISION_DIV1;
  htim1.Init.RepetitionCounter = 0;
  htim1.Init.AutoReloadPreload = TIM_AUTORELOAD_PRELOAD_DISABLE;
  if (HAL_TIM_OC_Init(&htim1) != HAL_OK)
  {
    Error_Handler();
  }
  sMasterConfig.MasterOutputTrigger = TIM_TRGO_RESET;
  sMasterConfig.MasterSlaveMode = TIM_MASTERSLAVEMODE_DISABLE;
  if (HAL_TIMEx_MasterConfigSynchronization(&htim1, &sMasterConfig) != HAL_OK)
  {
    Error_Handler();
  }
  sConfigOC.OCMode = TIM_OCMODE_TIMING;
  sConfigOC.Pulse = 0;
  sConfigOC.OCPolarity = TIM_OCPOLARITY_HIGH;
  sConfigOC.OCNPolarity = TIM_OCNPOLARITY_HIGH;
  sConfigOC.OCFastMode = TIM_OCFAST_DISABLE;
  sConfigOC.OCIdleState = TIM_OCIDLESTATE_RESET;
  sConfigOC.OCNIdleState = TIM_OCNIDLESTATE_RESET;
  if (HAL_TIM_OC_ConfigChannel(&htim1, &sConfigOC, TIM_CHANNEL_1) != HAL_OK)
  {
    Error_Handler();
  }
  sBreakDeadTimeConfig.OffStateRunMode = TIM_OSSR_DISABLE;
  sBreakDeadTimeConfig.OffStateIDLEMode = TIM_OSSI_DISABLE;
  sBreakDeadTimeConfig.LockLevel = TIM_LOCKLEVEL_OFF;
  sBreakDeadTimeConfig.DeadTime = 0;
  sBreakDeadTimeConfig.BreakState = TIM_BREAK_DISABLE;
  sBreakDeadTimeConfig.BreakPolarity = TIM_BREAKPOLARITY_HIGH;
  sBreakDeadTimeConfig.AutomaticOutput = TIM_AUTOMATICOUTPUT_DISABLE;
  if (HAL_TIMEx_ConfigBreakDeadTime(&htim1, &sBreakDeadTimeConfig) != HAL_OK)
  {
    Error_Handler();
  }

}

static void MX_TIM6_Init(void)
{

  TIM_MasterConfigTypeDef sMasterConfig = {0};

  htim6.Instance = TIM6;
  htim6.Init.Prescaler = 15;
  htim6.Init.CounterMode = TIM_COUNTERMODE_UP;
  htim6.Init.Period = 5250;
  htim6.Init.AutoReloadPreload = TIM_AUTORELOAD_PRELOAD_DISABLE;
  if (HAL_TIM_Base_Init(&htim6) != HAL_OK)
  {
    Error_Handler();
  }
  sMasterConfig.MasterOutputTrigger = TIM_TRGO_RESET;
  sMasterConfig.MasterSlaveMode = TIM_MASTERSLAVEMODE_DISABLE;
  if (HAL_TIMEx_MasterConfigSynchronization(&htim6, &sMasterConfig) != HAL_OK)
  {
    Error_Handler();
  }

}

static void MX_TIM7_Init(void)
{

  TIM_MasterConfigTypeDef sMasterConfig = {0};

  htim7.Instance = TIM7;
  htim7.Init.Prescaler = 1600;
  htim7.Init.CounterMode = TIM_COUNTERMODE_UP;
  htim7.Init.Period = 80;
  htim7.Init.AutoReloadPreload = TIM_AUTORELOAD_PRELOAD_DISABLE;
  if (HAL_TIM_Base_Init(&htim7) != HAL_OK)
  {
    Error_Handler();
  }
  sMasterConfig.MasterOutputTrigger = TIM_TRGO_RESET;
  sMasterConfig.MasterSlaveMode = TIM_MASTERSLAVEMODE_DISABLE;
  if (HAL_TIMEx_MasterConfigSynchronization(&htim7, &sMasterConfig) != HAL_OK)
  {
    Error_Handler();
  }

}

static void MX_TIM9_Init(void)
{

  TIM_OC_InitTypeDef sConfigOC = {0};

  htim9.Instance = TIM9;
  htim9.Init.Prescaler = 5;
  htim9.Init.CounterMode = TIM_COUNTERMODE_UP;
  htim9.Init.Period = 255;
  htim9.Init.ClockDivision = TIM_CLOCKDIVISION_DIV1;
  htim9.Init.AutoReloadPreload = TIM_AUTORELOAD_PRELOAD_DISABLE;
  if (HAL_TIM_PWM_Init(&htim9) != HAL_OK)
  {
    Error_Handler();
  }
  sConfigOC.OCMode = TIM_OCMODE_PWM1;
  sConfigOC.Pulse = 0;
  sConfigOC.OCPolarity = TIM_OCPOLARITY_LOW;
  sConfigOC.OCFastMode = TIM_OCFAST_DISABLE;
  if (HAL_TIM_PWM_ConfigChannel(&htim9, &sConfigOC, TIM_CHANNEL_1) != HAL_OK)
  {
    Error_Handler();
  }
  if (HAL_TIM_PWM_ConfigChannel(&htim9, &sConfigOC, TIM_CHANNEL_2) != HAL_OK)
  {
    Error_Handler();
  }
  HAL_TIM_MspPostInit(&htim9);

}

static void MX_TIM10_Init(void)
{

  htim10.Instance = TIM10;
  htim10.Init.Prescaler = 15;
  htim10.Init.CounterMode = TIM_COUNTERMODE_UP;
  htim10.Init.Period = 2625;
  htim10.Init.ClockDivision = TIM_CLOCKDIVISION_DIV1;
  htim10.Init.AutoReloadPreload = TIM_AUTORELOAD_PRELOAD_DISABLE;
  if (HAL_TIM_Base_Init(&htim10) != HAL_OK)
  {
    Error_Handler();
  }

}

static void MX_TIM11_Init(void)
{

  TIM_OC_InitTypeDef sConfigOC = {0};

  htim11.Instance = TIM11;
  htim11.Init.Prescaler = 5;
  htim11.Init.CounterMode = TIM_COUNTERMODE_UP;
  htim11.Init.Period = 255;
  htim11.Init.ClockDivision = TIM_CLOCKDIVISION_DIV1;
  htim11.Init.AutoReloadPreload = TIM_AUTORELOAD_PRELOAD_DISABLE;
  if (HAL_TIM_Base_Init(&htim11) != HAL_OK)
  {
    Error_Handler();
  }
  if (HAL_TIM_PWM_Init(&htim11) != HAL_OK)
  {
    Error_Handler();
  }
  sConfigOC.OCMode = TIM_OCMODE_PWM1;
  sConfigOC.Pulse = 0;
  sConfigOC.OCPolarity = TIM_OCPOLARITY_LOW;
  sConfigOC.OCFastMode = TIM_OCFAST_DISABLE;
  if (HAL_TIM_PWM_ConfigChannel(&htim11, &sConfigOC, TIM_CHANNEL_1) != HAL_OK)
  {
    Error_Handler();
  }
  HAL_TIM_MspPostInit(&htim11);

}

static void MX_TIM14_Init(void)
{

  htim14.Instance = TIM14;
  htim14.Init.Prescaler = 150;
  htim14.Init.CounterMode = TIM_COUNTERMODE_UP;
  htim14.Init.Period = 52500;
  htim14.Init.ClockDivision = TIM_CLOCKDIVISION_DIV1;
  htim14.Init.AutoReloadPreload = TIM_AUTORELOAD_PRELOAD_DISABLE;
  if (HAL_TIM_Base_Init(&htim14) != HAL_OK)
  {
    Error_Handler();
  }

}

static void MX_USART1_UART_Init(void)
{

  huart1.Instance = USART1;
  huart1.Init.BaudRate = 115200;
  huart1.Init.WordLength = UART_WORDLENGTH_8B;
  huart1.Init.StopBits = UART_STOPBITS_1;
  huart1.Init.Parity = UART_PARITY_NONE;
  huart1.Init.Mode = UART_MODE_TX_RX;
  huart1.Init.HwFlowCtl = UART_HWCONTROL_NONE;
  huart1.Init.OverSampling = UART_OVERSAMPLING_16;
  if (HAL_UART_Init(&huart1) != HAL_OK)
  {
    Error_Handler();
  }

}

static void MX_USART2_UART_Init(void)
{

  huart2.Instance = USART2;
  huart2.Init.BaudRate = 9600;
  huart2.Init.WordLength = UART_WORDLENGTH_8B;
  huart2.Init.StopBits = UART_STOPBITS_1;
  huart2.Init.Parity = UART_PARITY_NONE;
  huart2.Init.Mode = UART_MODE_TX_RX;
  huart2.Init.HwFlowCtl = UART_HWCONTROL_NONE;
  huart2.Init.OverSampling = UART_OVERSAMPLING_16;
  if (HAL_UART_Init(&huart2) != HAL_OK)
  {
    Error_Handler();
  }

}

static void MX_DMA_Init(void)
{

  /* DMA controller clock enable */
  __HAL_RCC_DMA1_CLK_ENABLE();

  /* DMA interrupt init */
  /* DMA1_Stream0_IRQn interrupt configuration */
  HAL_NVIC_SetPriority(DMA1_Stream0_IRQn, 0, 0);
  HAL_NVIC_EnableIRQ(DMA1_Stream0_IRQn);
  /* DMA1_Stream5_IRQn interrupt configuration */
  HAL_NVIC_SetPriority(DMA1_Stream5_IRQn, 0, 0);
  HAL_NVIC_EnableIRQ(DMA1_Stream5_IRQn);
  /* DMA1_Stream6_IRQn interrupt configuration */
  HAL_NVIC_SetPriority(DMA1_Stream6_IRQn, 0, 0);
  HAL_NVIC_EnableIRQ(DMA1_Stream6_IRQn);
  /* DMA1_Stream7_IRQn interrupt configuration */
  HAL_NVIC_SetPriority(DMA1_Stream7_IRQn, 0, 0);
  HAL_NVIC_EnableIRQ(DMA1_Stream7_IRQn);

}

static void MX_GPIO_Init(void)
{
  GPIO_InitTypeDef GPIO_InitStruct = {0};

  /* GPIO Ports Clock Enable */
  __HAL_RCC_GPIOE_CLK_ENABLE();
  __HAL_RCC_GPIOH_CLK_ENABLE();
  __HAL_RCC_GPIOA_CLK_ENABLE();
  __HAL_RCC_GPIOB_CLK_ENABLE();
  __HAL_RCC_GPIOD_CLK_ENABLE();
  __HAL_RCC_GPIOC_CLK_ENABLE();

  /*Configure GPIO pin Output Level */
  HAL_GPIO_WritePin(GPIOE, ADCS2_Pin|ADCS3_Pin|FAIL_RED_Pin|FAIL_GRN_Pin
                          |CH1_Pin|CH2_Pin|ADCS0_Pin|ADCS1_Pin, GPIO_PIN_RESET);

  /*Configure GPIO pin Output Level */
  HAL_GPIO_WritePin(GPIOB, LINK_YEL_Pin|LINK_GRN_Pin, GPIO_PIN_RESET);

  /*Configure GPIO pin Output Level */
  HAL_GPIO_WritePin(GPIOD, CH3_Pin|CH4_Pin|CH5_Pin|CH6_Pin, GPIO_PIN_RESET);

  /*Configure GPIO pin Output Level */
  HAL_GPIO_WritePin(GPIOC, CH7_Pin|CH8_Pin|CH9_Pin|CH10_Pin, GPIO_PIN_RESET);

  /*Configure GPIO pins : ADCS2_Pin ADCS3_Pin ADCS0_Pin ADCS1_Pin */
  GPIO_InitStruct.Pin = ADCS2_Pin|ADCS3_Pin|ADCS0_Pin|ADCS1_Pin;
  GPIO_InitStruct.Mode = GPIO_MODE_OUTPUT_PP;
  GPIO_InitStruct.Pull = GPIO_PULLUP;
  GPIO_InitStruct.Speed = GPIO_SPEED_FREQ_LOW;
  HAL_GPIO_Init(GPIOE, &GPIO_InitStruct);

  /*Configure GPIO pins : BRD_ID0_Pin BRD_ID1_Pin */
  GPIO_InitStruct.Pin = BRD_ID0_Pin|BRD_ID1_Pin;
  GPIO_InitStruct.Mode = GPIO_MODE_INPUT;
  GPIO_InitStruct.Pull = GPIO_NOPULL;
  HAL_GPIO_Init(GPIOH, &GPIO_InitStruct);

  /*Configure GPIO pins : LINK_YEL_Pin LINK_GRN_Pin */
  GPIO_InitStruct.Pin = LINK_YEL_Pin|LINK_GRN_Pin;
  GPIO_InitStruct.Mode = GPIO_MODE_OUTPUT_PP;
  GPIO_InitStruct.Pull = GPIO_NOPULL;
  GPIO_InitStruct.Speed = GPIO_SPEED_FREQ_VERY_HIGH;
  HAL_GPIO_Init(GPIOB, &GPIO_InitStruct);

  /*Configure GPIO pins : FAIL_RED_Pin FAIL_GRN_Pin */
  GPIO_InitStruct.Pin = FAIL_RED_Pin|FAIL_GRN_Pin;
  GPIO_InitStruct.Mode = GPIO_MODE_OUTPUT_PP;
  GPIO_InitStruct.Pull = GPIO_PULLDOWN;
  GPIO_InitStruct.Speed = GPIO_SPEED_FREQ_LOW;
  HAL_GPIO_Init(GPIOE, &GPIO_InitStruct);

  /*Configure GPIO pins : CH1_Pin CH2_Pin */
  GPIO_InitStruct.Pin = CH1_Pin|CH2_Pin;
  GPIO_InitStruct.Mode = GPIO_MODE_OUTPUT_PP;
  GPIO_InitStruct.Pull = GPIO_NOPULL;
  GPIO_InitStruct.Speed = GPIO_SPEED_FREQ_LOW;
  HAL_GPIO_Init(GPIOE, &GPIO_InitStruct);

  /*Configure GPIO pins : BT1_Pin BT2_Pin BT4_Pin BT3_Pin */
  GPIO_InitStruct.Pin = BT1_Pin|BT2_Pin|BT4_Pin|BT3_Pin;
  GPIO_InitStruct.Mode = GPIO_MODE_INPUT;
  GPIO_InitStruct.Pull = GPIO_PULLDOWN;
  HAL_GPIO_Init(GPIOE, &GPIO_InitStruct);

  /*Configure GPIO pins : BT5_Pin BT6_Pin */
  GPIO_InitStruct.Pin = BT5_Pin|BT6_Pin;
  GPIO_InitStruct.Mode = GPIO_MODE_INPUT;
  GPIO_InitStruct.Pull = GPIO_NOPULL;
  HAL_GPIO_Init(GPIOB, &GPIO_InitStruct);

  /*Configure GPIO pins : BT7_Pin BT9_Pin BT8_Pin BT10_Pin
                           BRD_ID0D0_Pin BRD_ID1D1_Pin */
  GPIO_InitStruct.Pin = BT7_Pin|BT9_Pin|BT8_Pin|BT10_Pin
                          |BRD_ID0D0_Pin|BRD_ID1D1_Pin;
  GPIO_InitStruct.Mode = GPIO_MODE_INPUT;
  GPIO_InitStruct.Pull = GPIO_NOPULL;
  HAL_GPIO_Init(GPIOD, &GPIO_InitStruct);

  /*Configure GPIO pins : CH3_Pin CH4_Pin CH5_Pin CH6_Pin */
  GPIO_InitStruct.Pin = CH3_Pin|CH4_Pin|CH5_Pin|CH6_Pin;
  GPIO_InitStruct.Mode = GPIO_MODE_OUTPUT_PP;
  GPIO_InitStruct.Pull = GPIO_NOPULL;
  GPIO_InitStruct.Speed = GPIO_SPEED_FREQ_LOW;
  HAL_GPIO_Init(GPIOD, &GPIO_InitStruct);

  /*Configure GPIO pins : CH7_Pin CH8_Pin CH9_Pin CH10_Pin */
  GPIO_InitStruct.Pin = CH7_Pin|CH8_Pin|CH9_Pin|CH10_Pin;
  GPIO_InitStruct.Mode = GPIO_MODE_OUTPUT_PP;
  GPIO_InitStruct.Pull = GPIO_NOPULL;
  GPIO_InitStruct.Speed = GPIO_SPEED_FREQ_LOW;
  HAL_GPIO_Init(GPIOC, &GPIO_InitStruct);

}

/* USER CODE BEGIN 4 */

GPIO led_gpio[10] = {
	{ CH1_GPIO_Port, CH1_Pin },
	{ CH2_GPIO_Port, CH2_Pin },
	{ CH3_GPIO_Port, CH3_Pin },
	{ CH4_GPIO_Port, CH4_Pin },
	{ CH5_GPIO_Port, CH5_Pin },
	{ CH6_GPIO_Port, CH6_Pin },
	{ CH7_GPIO_Port, CH7_Pin },
	{ CH8_GPIO_Port, CH8_Pin },
	{ CH9_GPIO_Port, CH9_Pin },
	{ CH10_GPIO_Port, CH10_Pin }
};

void HAL_TIM_PeriodElapsedCallback(TIM_HandleTypeDef *htim)
{

	_Bool buttonPush;
    if(htim->Instance == TIM7) //check if the interrupt comes from TIM1
        {

           if (semF)
        {sem = mbError((uint8_t*) arr);
                            if (sem)
                            {

                                  uartTx = mbFunkton( arrBool, arrWord, arr, blockMode);

														}

    semF = 0;
         }
        }
//				if(htim->Instance == TIM6)

				/***************************************************/
								if (htim == &htim1)
	{
		static int channel = 0;
		uint32_t rgb;
//	if (!ttr)
//	{
		HAL_GPIO_WritePin (led_gpio[channel].port, led_gpio[channel].pin, 0);

		channel = (channel + 1) % 10;
		rgb = led_rgb[channel];

		HAL_GPIO_WritePin(led_gpio[channel].port, led_gpio[channel].pin, 1);
//		if (ttr ==1)
//		{
//		 rgb = 0x00;
//		}

		htim9.Instance->CCR1 = (rgb >> 16) & 0xff; // RED
		htim9.Instance->CCR2 = (rgb >> 8) & 0xff; 	// GREEN
		htim11.Instance->CCR1 = (rgb >> 0) & 0xff; // BLUE

		if (arrWord[140]== 0)
		{LED_Fail(1);}
		else
		{LED_Fail(2);}

//	}

//
//				HAL_I2C_Slave_Transmit(&hi2c1,arrI2c, 2, 0x10);

//		if (set_set[adc_current])
//							{
//									arrWord[adc_current + 10] = arrWord[adc_current + 50];	// текущее значение в уставку
//									arrWord[adc_current + 20] = arrWord[adc_current + 60];
//									arrWord[adc_current + 30] = arrWord[adc_current + 70];
//									set_set[adc_current] = 0;
//							}

		//******************************************
		 if (blanTest == 1)
			 {if (rlanTest < 2000)
				 {rlanTest++;}
				else
				{blanTest = 0;}
			 }
		else
			{if (rlanTest > 0)
				{rlanTest-- ;}
				else
					{blanTest = 1;}
			}

	 }

	 if (htim == &htim10)
	 {

		 // проверка задержки

//		 DeltaBool(0,1); // сброс счетчика времени

//		 LED_Fail(2); //TEST

		 //					/* +++++++++++++++++++++++++++++++++++++++++++++++*/
// test git
// test git
				//  Режимы работы ПМК
		 arrWord[145] = modeEon;
      if (PMU_Mode == 0)
      {
        uartTx=0;
        blockMode = 1; //2307
              buttonPush=DeltaBool(10000); //30000
              if (buttonPush ==1)
              {
							PMU_Mode=2;
							}
							LED_Link(0);

       }
              //***********************************
       if (PMU_Mode == 1)
              {
                blockMode = 0;

                  if (uartTx==1)
                  {
                  PMU_Mode = 2;
                  }
//                      if (blink < 500)
//                      {
												LED_Link(2);

//                      }
//                      else if (blink <= 1000)
//                      {
//												LED_Link(2);
//                      }
//                      else
//                      {
//												blink = 0; // Перезапуск цикла мигания
//                      }
//                      blink ++;

              }
//              //***********************************
       if (PMU_Mode == 2)
              {  blockMode = 0;

              if (All_buttons_NoPush()==0)  //==0)
              {
                PMU_Mode = 0;
              }
//				if (arr[0]==mbAddr)
//				{
//							if ((arr[1]== lanCurr)&(lanTemer==0))
//							{
//
//							LED_Link(2);
//							arrI2c_T[1]=0;
//
//							}
//							else
//							{
//							LED_Link(1);
//							arrI2c_T[1]=1;
//
//							 lanTemer++;
//								if(lanTemer>10000)
//								{lanTemer =0;}
//								lanCurr = arr[1];
//							}
//						}
//				else
//				{
//					LED_Link(2);
//					arrI2c_T[1]=0;
//				}
//							if (arr[0]!= mbAddr)
				if (statusMb ==0)
				{

				 if (lanTimer > 50000)
						{
							LED_Link(2);
							arrI2c_T[1]=0;
						}
					else
						{
							lanTimer++;
						}
				}
				else
				{
					statusMb = 0;
					LED_Link(1);
					arrI2c_T[1]=1;
					lanTimer = 0;
				}

              }

                for (int i=0;i<10;i++)
								{
									if (startSett)
									{
											ch_monitor[i] = ModeCH(i,arrBool, arrWord, adc_current);
												if (arrWord[i+40]==0)
														{set_set[i]=1;}

												if ((arrWord[i+40]==3)|(arrWord[i+40]==4)|(arrWord[i+40]==5))
												{set_set[i] = 0;}

												if (((arrWord[i+40]==2)|(arrWord[i+40]==6))& set_set[i])
														{
															if (arrWord[i+50]< (_Rins/16)){arrWord[i+10]=(_Rins/16);}
															else {arrWord[i + 10] = arrWord[i + 50];}	// текущее значение в уставку

															if (arrWord[i+60]< (_Rins/16)){arrWord[i+20]=(_Rins/16);}
															else {arrWord[i + 20] = arrWord[i + 60];}

															if (arrWord[i+70]< (_Rloop)){arrWord[i+30]=(_Rloop);}
															else {arrWord[i + 30] = arrWord[i + 70];}

//														arrWord[i + 20] = arrWord[i + 60];
//														arrWord[i + 30] = arrWord[i + 70];
														set_set[i] = 0;
														}
									}
									else
									{
										led_rgb[i]= _Blue;
									}
								}

							}
	 if (htim == &htim14)
	 {
//					SetEEprom = arrWord[112] <<16;
//					SetEEprom = SetEEprom | arrWord[114];
		 // номер шасси задание
					arrI2c_T[4] = arrWord[112]>>8;
					arrI2c_T[5] = arrWord[112];
					arrI2c_T[6] = arrWord[113]>>8;
					arrI2c_T[7] = arrWord[113];
		 // команда - записать
					arrI2c_T[8] = arrWord[114]>>8;
					arrI2c_T[9] = arrWord[114];
// Управление смещением 100 В
//					arrI2c_T[11] = 0xBB; //EON_off; // 1 когда напряжение должно быть снято

//				arrI2c_T[0]= HAL_GPIO_ReadPin(GPIOD, GPIO_PIN_6);  //  adc_current; //test
//				arrI2c_T[1] = arr[1];	//
							for (int i=0; i<100; i++){}
		 					WTF = HAL_I2C_Slave_Transmit_DMA(&hi2c1,arrI2c_T,12);// RTF =
							for (int i=0; i<100; i++){}

//							RTF = HAL_I2C_Slave_Receive_DMA(&hi2c1, masterAddr,5);
//							for (int i=0; i<100; i++){}
//							arrWord[110] = masterAddr[1]<<8	| masterAddr[2];
//							arrWord[111] = masterAddr[3]<<8	| masterAddr[4];

							mbAddr = arrI2c_R[0]+ i2cAddr - 1;
							modeEon = arrI2c_R[10];
//							hvAllarm = arrI2c_R[11];

////////							if(hvAllarm)
////////								{
////////									arrWord[140] 	= arrWord[140] | 0x2;
////////								}
////////							else
////////								{
////////									arrWord[140] = arrWord[140]&1;
////////								}

							if((arrWord[140]&2)|(arrWord[140]&4))

							{arrI2c_T[0]=1;}

							else
								{arrI2c_T[0]=0;}

//								arrI2c_T[0] = EON_off;

//							WTF = HAL_I2C_Slave_Transmit_DMA(&hi2c1,masterAddr,5); //arrI2c, 3);
//							for (int i=0; i<100; i++){}

//					slaveWrData=1;
//					while(slaveWrData);

//					RTF = HAL_I2C_Slave_Transmit_IT(&hi2c1,arrI2c, 3); // RTF =
//
//					RTF = HAL_I2C_Master_Receive(&hi2c1,masterAddr, 3);

//					while(1)
//					{
//						if (RTF != HAL_BUSY)
//						{break;}

//					}
	}
	}

void preset_V(void)
{
		ttr = 0;

		MY_FLASH_ReadN (0, res, 400, DATA_TYPE_16);	// чтение всего из флеш

		//		int i;

		for (int i=0; i<10; i++)
		{
			if ((res[i+40] <= 5) & (arrWord[i+40] >5))
			{arrWord[i+40] = res[i+40];}
			else if ((arrWord[i+40]<=5)&(arrWord[i+40] !=res[i+40]))
			{ttr =1;}

			// memory
			if (arrWord[i] 		!=res[i])
				{
					ttr=1;
				}
			if (arrWord[i+10] !=res[i+10])
				{
					ttr=1;
				}
			if (arrWord[i+20] !=res[i+20])
				{
					ttr=1;}
			if (arrWord[i+30] !=res[i+30])
				{
					ttr=1;
				}
				if(arrWord[i+200] != res[i+200])
				{
					ttr=1;
				}
//			if (arrWord[i+40] !=res[i+40]){ttr=1;}

			if (((arrBool[i+20] & arrBool[i+30] & arrBool[i+40])& arrBool[i+50]) == 1)
			{arrBool[i+60] = 1;}
			else
			{arrBool[i+60] = 0;}

//			if (arrWord[i+40]>5)// нормирует режим канала !!! Плохо
//				{
//				 arrWord[i+40] = 0;
//				}
		}
			if (ttr)		// & (PMU_Mode==2)) 230722
		{

			__disable_irq();

			MY_FLASH_WriteN(0,arrWord,400,DATA_TYPE_16); // Запись измененных значений режима и уставок.

			__enable_irq();

		}

}

/* USER CODE END 4 */

void Error_Handler(void)
{
  __disable_irq();
  while (1)
  {
  }
}
